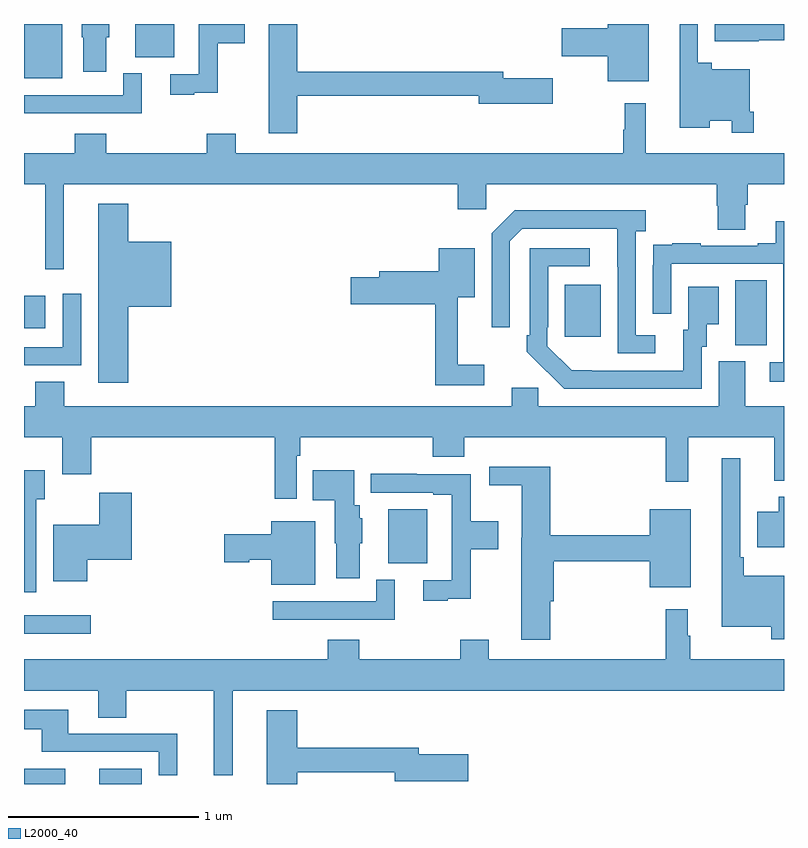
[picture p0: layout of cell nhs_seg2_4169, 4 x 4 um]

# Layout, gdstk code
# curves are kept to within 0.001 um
import gdstk
lib = gdstk.Library(unit=1e-6, precision=1e-09)
def R(c, l, rs):  # rectangles x0, y0, x1, y1
    for r in rs: c.add(gdstk.rectangle(r[:2], r[2:], *l))
def P(c, l, *ps):  # polygons
    for p in ps: c.add(gdstk.Polygon(p, *l))
L2000_40 = (2000, 40)

nhs_seg2_4169 = lib.new_cell('nhs_seg2_4169')
R(nhs_seg2_4169, L2000_40, [(335,657.8,335.216,657.879), (335.396,657.8,335.62,657.88), (335,658.592,335.35,658.689), (336.917,658.961,337.123,659.245), (338.744,660.109,338.908,660.452), (337.847,660.153,338.035,660.427), (335,660.2,335.113,660.37), (335,661.514,335.2,661.8), (335.585,661.625,335.791,661.8)])
P(nhs_seg2_4169, L2000_40, [(338.287,661.8),(338.072,661.8),(338.072,661.778),(337.83,661.778),(337.83,661.631),(338.072,661.631),(338.072,661.499),(338.287,661.499)],
  [(338.868,661.715),(339,661.715),(339,661.8),(338.636,661.8),(338.636,661.709),(338.868,661.709)],
  [(338.84,661.339),(338.82,661.339),(338.82,661.561),(338.621,661.561),(338.621,661.597),(338.547,661.597),(338.547,661.8),(338.45,661.8),(338.45,661.253),(338.608,661.253),(338.608,661.292),(338.724,661.292),(338.724,661.227),(338.84,661.227)],
  [(336.437,661.422),(337.394,661.422),(337.394,661.379),(337.783,661.379),(337.783,661.514),(337.522,661.514),(337.522,661.55),(336.437,661.55),(336.437,661.8),(336.287,661.8),(336.287,661.224),(336.437,661.224)],
  [(335.434,661.731),(335.449,661.731),(335.449,661.8),(335.303,661.8),(335.303,661.731),(335.312,661.731),(335.312,661.548),(335.434,661.548)],
  [(335.897,661.439),(336.02,661.439),(336.02,661.699),(336.163,661.699),(336.163,661.8),(335.919,661.8),(335.919,661.536),(335.769,661.536),(335.769,661.428),(335.897,661.428)],
  [(335.62,661.54),(335.523,661.54),(335.523,661.425),(335,661.425),(335,661.329),(335.62,661.329)],
  [(335.21,660.956),(337.283,660.956),(337.283,660.825),(337.434,660.825),(337.434,660.956),(338.645,660.956),(338.645,660.843),(338.65,660.843),(338.65,660.718),(338.797,660.718),(338.797,660.85),(338.81,660.85),(338.81,660.956),(339,660.956),(339,661.12),(338.272,661.12),(338.272,661.384),(338.163,661.384),(338.163,661.244),(338.155,661.244),(338.155,661.12),(336.115,661.12),(336.115,661.222),(335.963,661.222),(335.963,661.12),(335.432,661.12),(335.432,661.222),(335.267,661.222),(335.267,661.12),(335,661.12),(335,660.956),(335.111,660.956),(335.111,660.51),(335.21,660.51)],
  [(335.549,660.311),(335.776,660.311),(335.776,660.655),(335.549,660.655),(335.549,660.853),(335.39,660.853),(335.39,659.913),(335.549,659.913)],
  [(338.323,660.162),(338.22,660.162),(338.22,660.71),(338.272,660.71),(338.272,660.82),(337.582,660.82),(337.461,660.699),(337.461,660.204),(337.557,660.204),(337.557,660.657),(337.623,660.723),(338.123,660.723),(338.124,660.066),(338.323,660.066)],
  [(339,660.763),(338.957,660.763),(338.957,660.646),(338.861,660.646),(338.861,660.633),(338.561,660.633),(338.561,660.646),(338.413,660.646),(338.413,660.639),(338.311,660.639),(338.311,660.53),(338.31,660.53),(338.31,660.276),(338.406,660.276),(338.406,660.537),(338.997,660.537),(338.997,660.021),(338.925,660.021),(338.925,659.916),(339,659.916)],
  [(338.568,660.102),(338.593,660.102),(338.593,660.221),(338.656,660.221),(338.656,660.418),(338.495,660.418),(338.495,660.192),(338.471,660.192),(338.471,659.976),(337.884,659.977),(337.755,660.105),(337.755,660.205),(337.758,660.205),(337.758,660.525),(337.978,660.525),(337.978,660.621),(337.662,660.621),(337.662,660.163),(337.647,660.163),(337.647,660.075),(337.844,659.88),(338.568,659.88)],
  [(337.423,660.007),(337.283,660.007),(337.283,660.362),(337.372,660.362),(337.372,660.619),(337.184,660.619),(337.184,660.498),(336.869,660.498),(336.869,660.468),(336.72,660.468),(336.72,660.326),(337.165,660.326),(337.165,659.898),(337.423,659.898)],
  [(335.301,660.379),(335.205,660.379),(335.205,660.099),(335,660.099),(335,660.003),(335.301,660.003)],
  [(336.435,659.528),(336.455,659.528),(336.455,659.624),(337.151,659.624),(337.151,659.522),(337.316,659.522),(337.316,659.624),(338.377,659.624),(338.377,659.391),(338.495,659.391),(338.495,659.624),(338.948,659.624),(338.948,659.396),(339,659.396),(339,659.788),(338.797,659.788),(338.797,660.024),(338.657,660.024),(338.657,659.788),(337.707,659.788),(337.707,659.886),(337.568,659.886),(337.568,659.788),(335.212,659.788),(335.212,659.918),(335.06,659.918),(335.06,659.788),(335,659.788),(335,659.624),(335.201,659.624),(335.201,659.43),(335.354,659.43),(335.354,659.624),(336.319,659.624),(336.319,659.301),(336.435,659.301)],
  [(339,658.897),(338.789,658.897),(338.789,658.993),(338.769,658.993),(338.769,659.515),(338.672,659.515),(338.672,658.628),(338.934,658.628),(338.934,658.563),(339,658.563)],
  [(337.769,658.761),(337.787,658.761),(337.787,658.972),(338.294,658.972),(338.294,658.835),(338.509,658.835),(338.509,659.245),(338.294,659.245),(338.294,659.108),(337.769,659.108),(337.769,659.47),(337.449,659.47),(337.449,659.372),(337.619,659.372),(337.619,659.097),(337.616,659.097),(337.616,658.56),(337.769,658.56)],
  [(335.065,659.298),(335.11,659.298),(335.11,659.452),(335,659.452),(335,658.809),(335.065,658.809)],
  [(336.766,659.067),(336.781,659.067),(336.781,659.199),(336.766,659.199),(336.766,659.268),(336.739,659.268),(336.739,659.452),(336.52,659.452),(336.52,659.294),(336.635,659.294),(336.635,659.067),(336.644,659.067),(336.644,658.884),(336.766,658.884)],
  [(337.229,658.775),(337.352,658.775),(337.352,659.035),(337.495,659.035),(337.495,659.182),(337.352,659.182),(337.352,659.43),(337.067,659.43),(337.067,659.432),(336.825,659.432),(336.825,659.334),(337.154,659.334),(337.154,659.322),(337.251,659.322),(337.251,658.872),(337.101,658.872),(337.101,658.764),(337.229,658.764)],
  [(335.332,658.979),(335.567,658.979),(335.567,659.332),(335.396,659.332),(335.396,659.164),(335.153,659.164),(335.153,658.868),(335.332,658.868)],
  [(339,659.311),(338.972,659.311),(338.972,659.233),(338.858,659.233),(338.858,659.045),(339,659.045)],
  [(336.532,659.182),(336.302,659.182),(336.302,659.114),(336.054,659.114),(336.054,658.967),(336.186,658.967),(336.186,658.979),(336.302,658.979),(336.302,658.85),(336.532,658.85)],
  [(336.952,658.876),(336.855,658.876),(336.855,658.761),(336.309,658.761),(336.309,658.665),(336.952,658.665)],
  [(336.098,658.292),(339,658.292),(339,658.456),(338.506,658.456),(338.506,658.58),(338.494,658.58),(338.494,658.72),(338.377,658.72),(338.377,658.456),(337.447,658.456),(337.447,658.558),(337.295,658.558),(337.295,658.456),(336.764,658.456),(336.764,658.558),(336.599,658.558),(336.599,658.456),(335,658.456),(335,658.292),(335.39,658.292),(335.39,658.15),(335.538,658.15),(335.538,658.292),(335.999,658.292),(335.999,657.846),(336.098,657.846)],
  [(335.807,658.065),(335.233,658.065),(335.233,658.192),(335,658.192),(335,658.088),(335.093,658.088),(335.093,657.969),(335.709,657.969),(335.709,657.846),(335.807,657.846)],
  [(336.437,657.862),(336.95,657.862),(336.95,657.815),(337.339,657.815),(337.339,657.957),(337.078,657.957),(337.078,657.991),(336.437,657.991),(336.437,658.189),(336.278,658.189),(336.278,657.8),(336.437,657.8)])

lib.write_gds('nhs_seg2_4169.gds')
